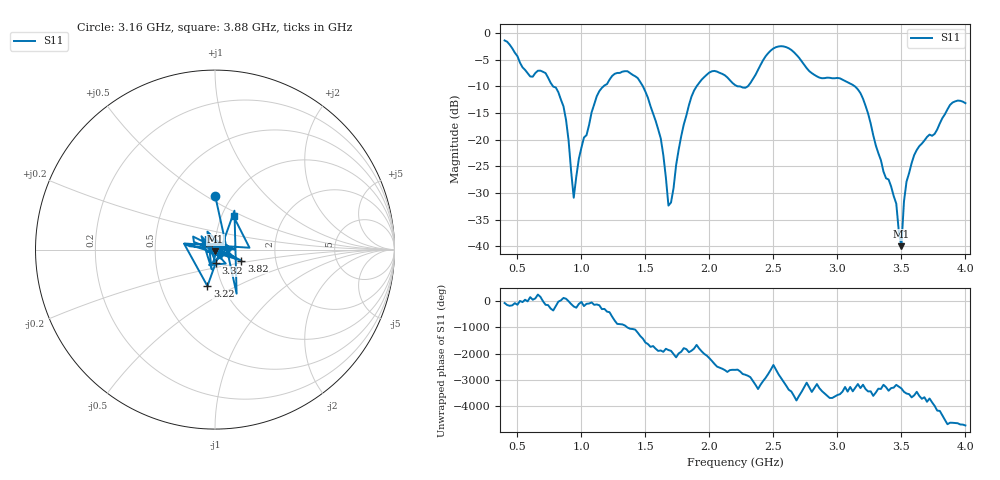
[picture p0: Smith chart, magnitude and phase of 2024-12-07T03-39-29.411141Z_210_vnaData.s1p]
!Created with skrf (http://scikit-rf.org).
# Hz S RI R 50.0
!freq ReS11 ImS11
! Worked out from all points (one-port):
!   181 points, 400 MHz to 4 GHz, reference 50 ohm
!   lowest |S11| = -40.0 dB at 3.5 GHz (marker M1), VSWR 1.02, Z = 50.2 - j0.981 ohm
!   |S11| at or under -10 dB: 778.6 MHz to 1.173 GHz (394.1 MHz wide, 40.4 % of centre); 1.481 GHz to 1.9 GHz (419.1 MHz wide, 24.8 % of centre); 3.136 GHz to end of sweep (the widest 3 of 4)
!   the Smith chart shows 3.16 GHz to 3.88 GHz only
!   S11 on the Smith chart (normalised r, x): 3.16 GHz: 0.84, +0.55; 3.22 GHz: 0.85, -0.36; 3.32 GHz: 1.00, -0.15; 3.82 GHz: 1.33, -0.17; 3.88 GHz: 1.14, +0.44
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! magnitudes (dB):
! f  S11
! 400 MHz  -1.4
! 720 MHz  -7.5
! 860 MHz  -13.8
! 940 MHz  -30.9
! 980 MHz  -23.6
! 1.12 GHz  -11.9
! 1.3 GHz  -7.5
! 1.52 GHz  -12.2
! 1.62 GHz  -19.8
! 1.68 GHz  -32.4
! 1.76 GHz  -21.9
! 1.86 GHz  -11.9
! 1.94 GHz  -8.7
! 2.2 GHz  -9.7
! 2.3 GHz  -10.0
! 2.5 GHz  -2.9
! 2.66 GHz  -3.6
! 3.1 GHz  -9.5
! 3.16 GHz  -10.6
! 3.22 GHz  -13.7
! 3.32 GHz  -22.5
! 3.46 GHz  -32.0
! 3.5 GHz  -40.0
! 3.52 GHz  -31.6
! 3.56 GHz  -26.3
! 3.82 GHz  -16.0
! 3.88 GHz  -13.5
! 4 GHz  -13.2
